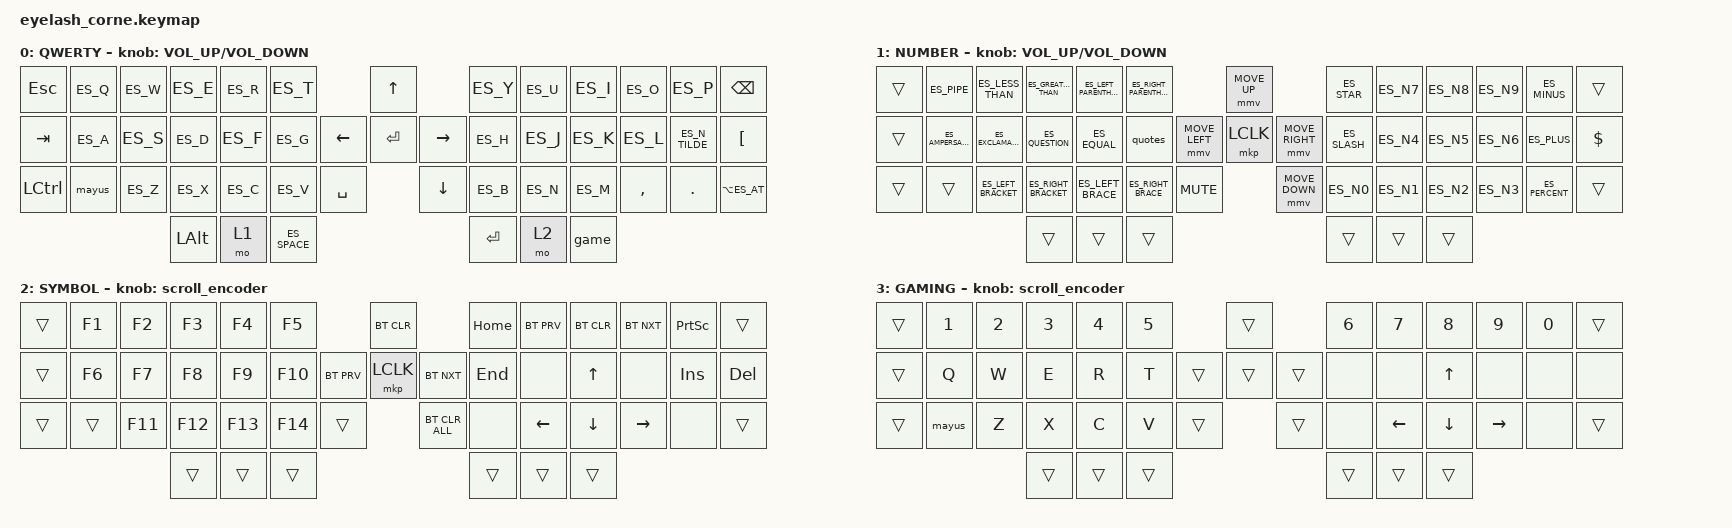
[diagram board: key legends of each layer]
#define ZMK_POINTING_DEFAULT_MOVE_VAL 1200  // 600
#define ZMK_POINTING_DEFAULT_SCRL_VAL 25   // 10

#include <input/processors.dtsi>
#include <zephyr/dt-bindings/input/input-event-codes.h>
#include "keys_es_latin_american.h"
#include <behaviors.dtsi>
#include <dt-bindings/zmk/bt.h>
#include <dt-bindings/zmk/keys.h>
#include <dt-bindings/zmk/pointing.h>
#include <dt-bindings/zmk/rgb.h>

&mmv_input_listener { input-processors = <&zip_xy_scaler 2 1>; };

&msc_input_listener { input-processors = <&zip_scroll_scaler 2 1>; };

&msc {
    acceleration-exponent = <1>;      // 0
    time-to-max-speed-ms = <100>;       // 300
    delay-ms = <0>;                   // 0
};

&mmv {
    time-to-max-speed-ms = <500>;
    acceleration-exponent = <1>;
    trigger-period-ms = <16>;
};

/ {
    behaviors {
        mayus: mayus_tap_dance {
            compatible = "zmk,behavior-tap-dance";
            display-name = "Shift/Caps Lock Tap Dance";
            #binding-cells = <0>;
            bindings = <&kp LEFT_SHIFT>, <&caps_word>, <&kp CAPSLOCK>;

            label = "mayus_tap_dance";
        };

        game: game_tap_dance {
            compatible = "zmk,behavior-tap-dance";
            label = "game_tap_dance";
            #binding-cells = <0>;
            bindings = <&kp LEFT_WIN>, <&none>, <&to 3>;
        };

        quotes: quotes {
            compatible = "zmk,behavior-tap-dance";
            label = "QUOTES";
            #binding-cells = <0>;
            bindings =
                <&kp ES_SINGLE_QUOTE>,
                <&kp ES_GRAVE>,
                <&kp ES_DOUBLE_QUOTES>;
        };
    };

    rgb_encoder: rgb_encoder {
        compatible = "zmk,behavior-sensor-rotate";
        #sensor-binding-cells = <0>;
        bindings = <&rgb_ug RGB_BRI>, <&rgb_ug RGB_BRD>;
    };

    scroll_encoder: scroll_encoder {
        compatible = "zmk,behavior-sensor-rotate";
        #sensor-binding-cells = <0>;
        bindings = <&msc SCRL_DOWN>, <&msc SCRL_UP>;

        tap-ms = <100>;
    };

    combos {
        compatible = "zmk,combos";

        back_to_0 {
            bindings = <&to 0>;
            key-positions = <43 46>;
        };
    };

    keymap {
        compatible = "zmk,keymap";

        default_layer {
            display-name = "QWERTY";
            bindings = <
&kp ESCAPE  &kp ES_Q  &kp ES_W  &kp ES_E      &kp ES_R  &kp ES_T                             &kp UP                &kp ES_Y   &kp ES_U  &kp ES_I  &kp ES_O   &kp ES_P        &kp BSPC
&kp TAB     &kp ES_A  &kp ES_S  &kp ES_D      &kp ES_F  &kp ES_G                   &kp LEFT  &kp ENTER  &kp RIGHT  &kp ES_H   &kp ES_J  &kp ES_K  &kp ES_L   &kp ES_N_TILDE  &kp LEFT_BRACKET
&kp LCTRL   &mayus    &kp ES_Z  &kp ES_X      &kp ES_C  &kp ES_V      &kp SPACE              &kp DOWN              &kp ES_B   &kp ES_N  &kp ES_M  &kp COMMA  &kp DOT         &kp LA(ES_AT)
                                &kp LEFT_ALT  &mo 1     &kp ES_SPACE                                               &kp ENTER  &mo 2     &game
            >;

            sensor-bindings = <&inc_dec_kp C_VOLUME_UP C_VOLUME_DOWN>;
        };

        lower_layer {
            display-name = "NUMBER";
            bindings = <
&trans  &kp ES_PIPE       &kp ES_LESS_THAN     &kp ES_GREATER_THAN   &kp ES_LEFT_PARENTHESIS  &kp ES_RIGHT_PARENTHESIS                                &mmv MOVE_UP                     &kp ES_STAR   &kp ES_N7  &kp ES_N8  &kp ES_N9  &kp ES_MINUS    &trans
&trans  &kp ES_AMPERSAND  &kp ES_EXCLAMATION   &kp ES_QUESTION       &kp ES_EQUAL             &quotes                                 &mmv MOVE_LEFT  &mkp LCLK       &mmv MOVE_RIGHT  &kp ES_SLASH  &kp ES_N4  &kp ES_N5  &kp ES_N6  &kp ES_PLUS     &kp DOLLAR
&trans  &trans            &kp ES_LEFT_BRACKET  &kp ES_RIGHT_BRACKET  &kp ES_LEFT_BRACE        &kp ES_RIGHT_BRACE        &kp C_MUTE                    &mmv MOVE_DOWN                   &kp ES_N0     &kp ES_N1  &kp ES_N2  &kp ES_N3  &kp ES_PERCENT  &trans
                                               &trans                &trans                   &trans                                                                                   &trans        &trans     &trans
            >;

            sensor-bindings = <&inc_dec_kp C_VOLUME_UP C_VOLUME_DOWN>;
        };

        raise_layer {
            display-name = "SYMBOL";
            bindings = <
&trans  &kp F1  &kp F2   &kp F3   &kp F4   &kp F5                         &bt BT_CLR                  &kp HOME  &bt BT_PRV  &bt BT_CLR  &bt BT_NXT  &kp PRINTSCREEN  &trans
&trans  &kp F6  &kp F7   &kp F8   &kp F9   &kp F10            &bt BT_PRV  &mkp LCLK       &bt BT_NXT  &kp END   &none       &kp UP      &none       &kp INSERT       &kp DELETE
&trans  &trans  &kp F11  &kp F12  &kp F13  &kp F14  &trans                &bt BT_CLR_ALL              &none     &kp LEFT    &kp DOWN    &kp RIGHT   &none            &trans
                         &trans   &trans   &trans                                                     &trans    &trans      &trans
            >;

            sensor-bindings = <&scroll_encoder>;
        };

        toggle_layer {
            bindings = <
&trans  &kp N1  &kp N2  &kp N3  &kp N4  &kp N5                    &trans          &kp N6  &kp N7    &kp N8    &kp N9     &kp N0  &trans
&trans  &kp Q   &kp W   &kp E   &kp R   &kp T             &trans  &trans  &trans  &none   &none     &kp UP    &none      &none   &none
&trans  &mayus  &kp Z   &kp X   &kp C   &kp V   &trans            &trans          &none   &kp LEFT  &kp DOWN  &kp RIGHT  &none   &trans
                        &trans  &trans  &trans                                    &trans  &trans    &trans
            >;

            label = "GAMING";
            sensor-bindings = <&scroll_encoder>;
        };
    };
};
